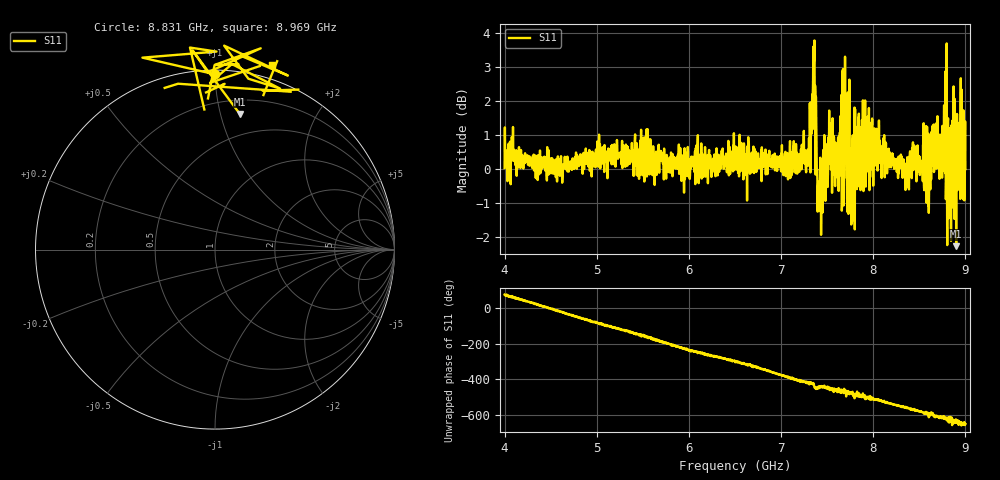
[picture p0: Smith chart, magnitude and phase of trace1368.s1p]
! Created with skrf 1.8.0 (http://scikit-rf.org).
# Hz S RI R 50.0
!freq ReS11 ImS11
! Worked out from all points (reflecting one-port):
!   1601 points, 4 GHz to 9 GHz, reference 50 ohm
!   lowest |S11| = -2.3 dB at 8.9 GHz (marker M1), VSWR 7.65, Z = 15.6 + j57.5 ohm
!   phase of S11 starts at 73 deg and turns -722 deg over the sweep
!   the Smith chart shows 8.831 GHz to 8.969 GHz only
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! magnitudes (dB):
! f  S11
! 4 GHz  0.0
! 4.625 GHz  -0.4
! 5.25 GHz  0.3
! 5.875 GHz  0.0
! 6.5 GHz  0.0
! 7.125 GHz  0.3
! 7.294 GHz  0.1
! 7.347 GHz  2.5
! 7.369 GHz  2.5
! 7.412 GHz  -0.7
! 7.512 GHz  0.9
! 7.609 GHz  0.4
! 7.669 GHz  1.1
! 7.75 GHz  -0.1
! 7.775 GHz  0.8
! 7.822 GHz  -0.6
! 7.875 GHz  0.1
! 7.928 GHz  0.5
! 8.375 GHz  0.0
! 8.438 GHz  0.7
! 8.6 GHz  -0.6
! 8.656 GHz  1.3
! 8.725 GHz  1.0
! 8.759 GHz  0.5
! 8.856 GHz  -0.2
! 8.9 GHz  -2.3
! 8.953 GHz  -0.7
! 9 GHz  0.0
